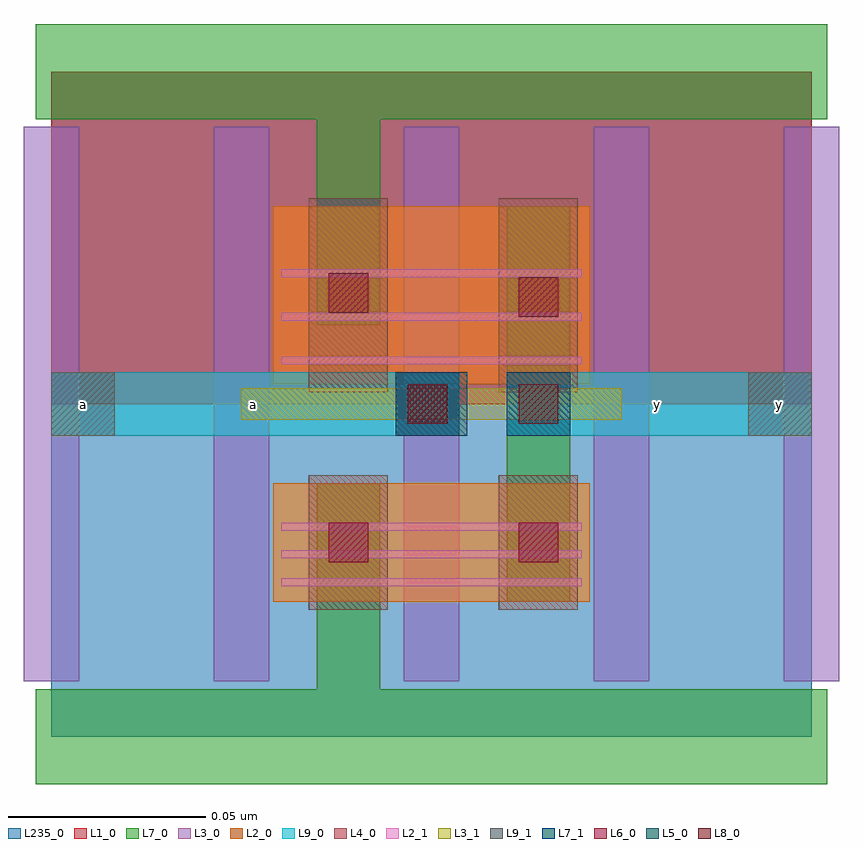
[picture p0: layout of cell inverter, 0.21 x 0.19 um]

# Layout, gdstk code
import gdstk
lib = gdstk.Library(unit=1e-6, precision=1e-09)
def R(c, l, rs):  # rectangles x0, y0, x1, y1
    for r in rs: c.add(gdstk.rectangle(r[:2], r[2:], *l))
def A(c, l, x, y, w, h, nx, ny, dx, dy):  # array of equal rectangles
    R(c, l, [(x+i*dx, y+j*dy, x+i*dx+w, y+j*dy+h) for i in range(nx) for j in range(ny)])
L1_0 = (1, 0)
L2_0 = (2, 0)
L2_1 = (2, 1)
L3_0 = (3, 0)
L3_1 = (3, 1)
L4_0 = (4, 0)
L5_0 = (5, 0)
L6_0 = (6, 0)
L7_0 = (7, 0)
L7_1 = (7, 1)
L8_0 = (8, 0)
L9_0 = (9, 0)
L9_1 = (9, 1)
L235_0 = (235, 0)

inv_gaa_x1 = lib.new_cell('INV_GAA_X1')
R(inv_gaa_x1, L1_0, [(0,0.084,0.096,0.168)])
R(inv_gaa_x1, L2_0, [(0.008,0.034,0.088,0.064), (0.008,0.089,0.088,0.134)])
A(inv_gaa_x1, L2_1, 0.01, 0.038, 0.076, 0.002, 1, 3, 0, 0.007)
A(inv_gaa_x1, L2_1, 0.01, 0.094, 0.076, 0.002, 1, 3, 0, 0.011)
A(inv_gaa_x1, L3_0, -0.007, 0.014, 0.014, 0.14, 3, 1, 0.048, 0)
R(inv_gaa_x1, L3_1, [(0,0.08,0.096,0.088)])
R(inv_gaa_x1, L4_0, [(0.017,0.032,0.037,0.066), (0.065,0.032,0.085,0.066), (0.017,0.087,0.037,0.136), (0.065,0.087,0.085,0.136)])
R(inv_gaa_x1, L5_0, [(0.039,0.076,0.057,0.092)])
R(inv_gaa_x1, L6_0, [(0.022,0.044,0.032,0.054), (0.07,0.044,0.08,0.054), (0.042,0.079,0.052,0.089), (0.07,0.106,0.08,0.116), (0.022,0.107,0.032,0.117)])
R(inv_gaa_x1, L7_0, [(-0.004,-0.012,0.1,0.012), (0.019,0,0.035,0.064), (0.067,0.034,0.083,0.134), (0.039,0.076,0.055,0.092), (0.019,0.104,0.035,0.168), (-0.004,0.156,0.1,0.18)])
R(inv_gaa_x1, L7_1, [(0.039,0.076,0.055,0.092), (0.067,0.076,0.083,0.092)])
R(inv_gaa_x1, L235_0, [(0,0,0.096,0.168)])
inv_gaa_x1.add(gdstk.Label('A', (0.047,0.084), layer=7, texttype=2))
inv_gaa_x1.add(gdstk.Label('Y', (0.075,0.084), layer=7, texttype=2))
inv_gaa_x1.add(gdstk.Label('VDD', (0.048,0.168), layer=7, texttype=2))
inv_gaa_x1.add(gdstk.Label('VSS', (0.048,0), layer=7, texttype=2))

fill_gaa_x1 = lib.new_cell('FILL_GAA_X1')
R(fill_gaa_x1, L1_0, [(0,0.084,0.048,0.168)])
R(fill_gaa_x1, L3_0, [(-0.007,0.014,0.007,0.154), (0.041,0.014,0.055,0.154)])
R(fill_gaa_x1, L7_0, [(-0.004,-0.012,0.052,0.012), (-0.004,0.156,0.052,0.18)])
R(fill_gaa_x1, L235_0, [(0,0,0.048,0.168)])

inverter = lib.new_cell('inverter')
R(inverter, L8_0, [(0.09,0.079,0.1,0.089), (0.118,0.079,0.128,0.089)])
R(inverter, L9_0, [(0,0.076,0.103,0.092), (0,0.076,0.016,0.092), (0.115,0.076,0.192,0.092), (0.176,0.076,0.192,0.092)])
R(inverter, L9_1, [(0,0.076,0.016,0.092), (0.176,0.076,0.192,0.092)])
R(inverter, L235_0, [(0,0,0.192,0.168)])
inverter.add(gdstk.Reference(inv_gaa_x1, (0.048,0)))
inverter.add(gdstk.Reference(fill_gaa_x1, (0,0)))
inverter.add(gdstk.Reference(fill_gaa_x1, (0.144,0)))
inverter.add(gdstk.Label('a', (0.051,0.084), layer=9, texttype=3))
inverter.add(gdstk.Label('y', (0.153,0.084), layer=9, texttype=3))
inverter.add(gdstk.Label('a', (0.008,0.084), layer=9, texttype=2))
inverter.add(gdstk.Label('y', (0.184,0.084), layer=9, texttype=2))

lib.write_gds('inverter.gds')
